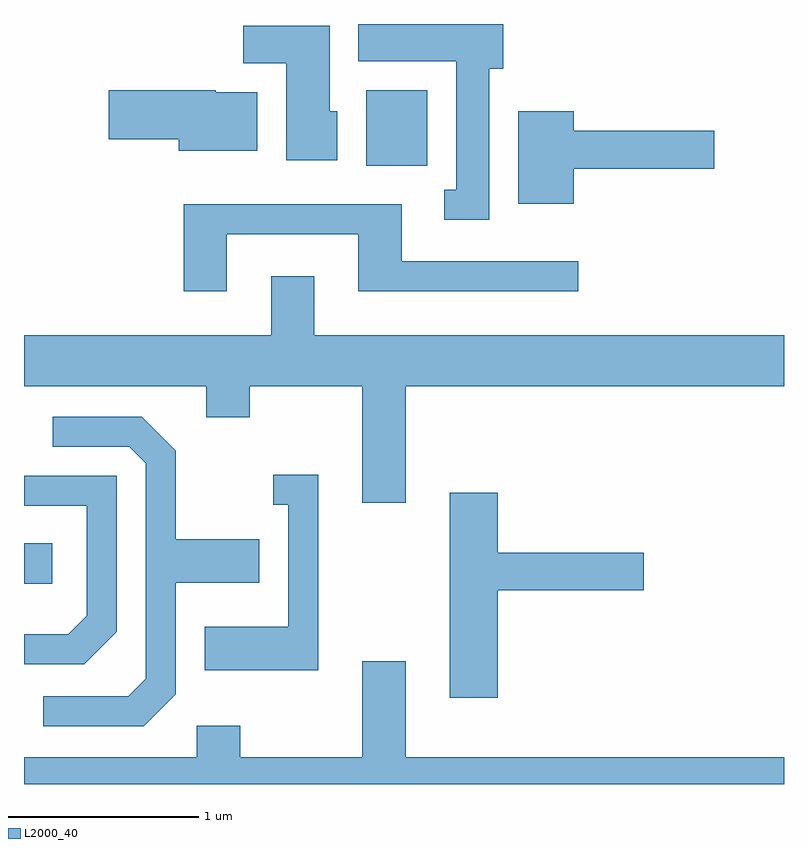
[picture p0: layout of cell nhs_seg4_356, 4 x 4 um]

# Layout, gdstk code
import gdstk
lib = gdstk.Library(unit=1e-6, precision=1e-09)
def R(c, l, rs):  # rectangles x0, y0, x1, y1
    for r in rs: c.add(gdstk.rectangle(r[:2], r[2:], *l))
def P(c, l, *ps):  # polygons
    for p in ps: c.add(gdstk.Polygon(p, *l))
L2000_40 = (2000, 40)

nhs_seg4_356 = lib.new_cell('nhs_seg4_356')
R(nhs_seg4_356, L2000_40, [(195.611,1287.036,195.759,1287.249), (197.411,1289.236,197.734,1289.634)])
P(nhs_seg4_356, L2000_40, [(198.059,1289.746),(198.134,1289.746),(198.134,1289.982),(197.371,1289.982),(197.371,1289.786),(197.886,1289.786),(197.886,1289.109),(197.823,1289.109),(197.823,1288.951),(198.059,1288.951)],
  [(197.259,1289.524),(197.219,1289.524),(197.219,1289.974),(196.766,1289.974),(196.766,1289.776),(196.991,1289.776),(196.991,1289.266),(197.259,1289.266)],
  [(196.839,1289.624),(196.62,1289.624),(196.62,1289.634),(196.056,1289.634),(196.056,1289.376),(196.426,1289.376),(196.426,1289.316),(196.839,1289.316)],
  [(198.504,1289.221),(199.244,1289.221),(199.244,1289.419),(198.504,1289.419),(198.504,1289.524),(198.211,1289.524),(198.211,1289.036),(198.504,1289.036)],
  [(196.679,1288.876),(197.371,1288.876),(197.371,1288.576),(198.528,1288.576),(198.528,1288.734),(197.599,1288.734),(197.599,1289.034),(196.451,1289.034),(196.451,1288.576),(196.679,1288.576)],
  [(197.619,1288.076),(199.611,1288.076),(199.611,1288.344),(197.139,1288.344),(197.139,1288.654),(196.911,1288.654),(196.911,1288.344),(195.611,1288.344),(195.611,1288.076),(196.571,1288.076),(196.571,1287.911),(196.799,1287.911),(196.799,1288.076),(197.391,1288.076),(197.391,1287.461),(197.619,1287.461)],
  [(196.409,1286.454),(196.409,1287.041),(196.849,1287.041),(196.849,1287.269),(196.409,1287.269),(196.409,1287.737),(196.232,1287.914),(195.763,1287.914),(195.763,1287.756),(196.164,1287.756),(196.251,1287.669),(196.251,1286.537),(196.159,1286.444),(195.713,1286.444),(195.713,1286.286),(196.242,1286.286)],
  [(197.159,1287.609),(196.923,1287.609),(196.923,1287.451),(197.001,1287.451),(197.001,1286.809),(196.561,1286.809),(196.561,1286.581),(197.159,1286.581)],
  [(196.099,1286.784),(196.099,1287.604),(195.611,1287.604),(195.611,1287.446),(195.941,1287.446),(195.941,1286.867),(195.844,1286.769),(195.611,1286.769),(195.611,1286.611),(195.927,1286.611)],
  [(198.104,1287.001),(198.874,1287.001),(198.874,1287.199),(198.104,1287.199),(198.104,1287.514),(197.851,1287.514),(197.851,1286.436),(198.104,1286.436)],
  [(199.611,1286.124),(197.619,1286.124),(197.619,1286.629),(197.391,1286.629),(197.391,1286.124),(196.749,1286.124),(196.749,1286.289),(196.521,1286.289),(196.521,1286.124),(195.611,1286.124),(195.611,1285.982),(199.611,1285.982)])

lib.write_gds('nhs_seg4_356.gds')
